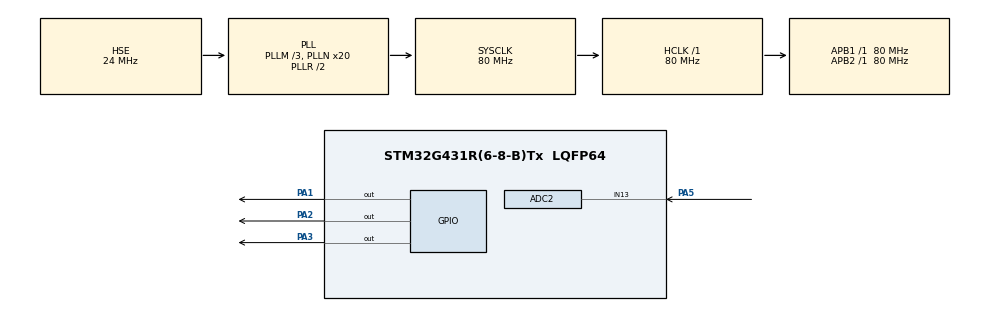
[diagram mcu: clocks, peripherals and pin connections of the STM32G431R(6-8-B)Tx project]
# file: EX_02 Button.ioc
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ADC2.Channel-0\#ChannelRegularConversion=ADC_CHANNEL_13
ADC2.NbrOfConversionFlag=1
ADC2.OffsetNumber-0\#ChannelRegularConversion=ADC_OFFSET_NONE
ADC2.Rank-0\#ChannelRegularConversion=1
ADC2.SamplingTime-0\#ChannelRegularConversion=ADC_SAMPLETIME_247CYCLES_5
Mcu.Family=STM32G4
Mcu.Name=STM32G431R(6-8-B)Tx
Mcu.Package=LQFP64
NVIC.PriorityGroup=NVIC_PRIORITYGROUP_4
PA1.Signal=GPIO_Output
PA2.Signal=GPIO_Output
PA3.Signal=GPIO_Output
PA5.Mode=IN13-Single-Ended
PA5.Signal=ADC2_IN13
PF0-OSC_IN.Mode=HSE-External-Oscillator
PF0-OSC_IN.Signal=RCC_OSC_IN
PF1-OSC_OUT.Mode=HSE-External-Oscillator
PF1-OSC_OUT.Signal=RCC_OSC_OUT
ProjectManager.HeapSize=0x200
ProjectManager.StackSize=0x400
ProjectManager.TargetToolchain=MDK-ARM V5.27
RCC.ADC12Freq_Value=80000000
RCC.AHBFreq_Value=80000000
RCC.APB1Freq_Value=80000000
RCC.APB1TimFreq_Value=80000000
RCC.APB2Freq_Value=80000000
RCC.APB2TimFreq_Value=80000000
RCC.CortexFreq_Value=80000000
RCC.EXTERNAL_CLOCK_VALUE=12288000
RCC.HCLKFreq_Value=80000000
RCC.HSE_VALUE=24000000
RCC.HSI48_VALUE=48000000
RCC.HSI_VALUE=16000000
RCC.LSE_VALUE=32768
RCC.PLLM=RCC_PLLM_DIV3
RCC.PLLN=20
RCC.PLLSourceVirtual=RCC_PLLSOURCE_HSE
RCC.SYSCLKFreq_VALUE=80000000
RCC.SYSCLKSource=RCC_SYSCLKSOURCE_PLLCLK
RCC.USBFreq_Value=80000000
RCC.VCOOutputFreq_Value=160000000
VP_SYS_VS_DBSignals.Mode=DisableDeadBatterySignals
board=custom

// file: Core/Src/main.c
/* USER CODE BEGIN Header */
/**
  ******************************************************************************
  * @file           : main.c
  * @brief          : Main program body
  ******************************************************************************
  * @attention
  *
  * <h2><center>&copy; Copyright (c) 2024 STMicroelectronics.
  * All rights reserved.</center></h2>
  *
  * This software component is licensed by ST under BSD 3-Clause license,
  * the "License"; You may not use this file except in compliance with the
  * License. You may obtain a copy of the License at:
  *                        opensource.org/licenses/BSD-3-Clause
  *
  ******************************************************************************
  */
/* USER CODE END Header */
#include "main.h"
#include "adc.h"
#include "gpio.h"

/* USER CODE BEGIN Includes */
#include "lcd.h"
#include <stdio.h>
#include "seg.h"
#include "button.h"
/* USER CODE END Includes */

void SystemClock_Config(void);
/* USER CODE BEGIN PFP */
uint16_t getADC_R37(void);

/* USER CODE END PFP */

int main(void)
{

  /* MCU Configuration--------------------------------------------------------*/

  /* Reset of all peripherals, Initializes the Flash interface and the Systick. */
  HAL_Init();

  /* Configure the system clock */
  SystemClock_Config();

  /* Initialize all configured peripherals */
  MX_GPIO_Init();
  MX_ADC2_Init();
  /* USER CODE BEGIN 2 */
  LCD_Init();
  LCD_Clear(Black);
  LCD_SetBackColor(Black);
  LCD_SetTextColor(White);

  LCD_DisplayStringLine(Line0, (uint8_t *)"asdfdghmj");
  /* USER CODE END 2 */

  /* Infinite loop */
  /* USER CODE BEGIN WHILE */
  while (1)
  {
	  Seg_Display(Button_Scan(), 10, 10);
    /* USER CODE END WHILE */

  }
}

void SystemClock_Config(void)
{
  RCC_OscInitTypeDef RCC_OscInitStruct = {0};
  RCC_ClkInitTypeDef RCC_ClkInitStruct = {0};
  RCC_PeriphCLKInitTypeDef PeriphClkInit = {0};

  /** Configure the main internal regulator output voltage
  */
  HAL_PWREx_ControlVoltageScaling(PWR_REGULATOR_VOLTAGE_SCALE1);
  /** Initializes the RCC Oscillators according to the specified parameters
  * in the RCC_OscInitTypeDef structure.
  */
  RCC_OscInitStruct.OscillatorType = RCC_OSCILLATORTYPE_HSE;
  RCC_OscInitStruct.HSEState = RCC_HSE_ON;
  RCC_OscInitStruct.PLL.PLLState = RCC_PLL_ON;
  RCC_OscInitStruct.PLL.PLLSource = RCC_PLLSOURCE_HSE;
  RCC_OscInitStruct.PLL.PLLM = RCC_PLLM_DIV3;
  RCC_OscInitStruct.PLL.PLLN = 20;
  RCC_OscInitStruct.PLL.PLLP = RCC_PLLP_DIV2;
  RCC_OscInitStruct.PLL.PLLQ = RCC_PLLQ_DIV2;
  RCC_OscInitStruct.PLL.PLLR = RCC_PLLR_DIV2;
  if (HAL_RCC_OscConfig(&RCC_OscInitStruct) != HAL_OK)
  {
    Error_Handler();
  }
  /** Initializes the CPU, AHB and APB buses clocks
  */
  RCC_ClkInitStruct.ClockType = RCC_CLOCKTYPE_HCLK|RCC_CLOCKTYPE_SYSCLK
                              |RCC_CLOCKTYPE_PCLK1|RCC_CLOCKTYPE_PCLK2;
  RCC_ClkInitStruct.SYSCLKSource = RCC_SYSCLKSOURCE_PLLCLK;
  RCC_ClkInitStruct.AHBCLKDivider = RCC_SYSCLK_DIV1;
  RCC_ClkInitStruct.APB1CLKDivider = RCC_HCLK_DIV1;
  RCC_ClkInitStruct.APB2CLKDivider = RCC_HCLK_DIV1;

  if (HAL_RCC_ClockConfig(&RCC_ClkInitStruct, FLASH_LATENCY_2) != HAL_OK)
  {
    Error_Handler();
  }
  /** Initializes the peripherals clocks
  */
  PeriphClkInit.PeriphClockSelection = RCC_PERIPHCLK_ADC12;
  PeriphClkInit.Adc12ClockSelection = RCC_ADC12CLKSOURCE_SYSCLK;
  if (HAL_RCCEx_PeriphCLKConfig(&PeriphClkInit) != HAL_OK)
  {
    Error_Handler();
  }
}

/* USER CODE BEGIN 4 */
uint16_t getADC_R37()
{
	uint16_t adc;
	HAL_ADC_Start(&hadc2);
	HAL_ADC_PollForConversion(&hadc2, 10);
	adc = HAL_ADC_GetValue(&hadc2);
	HAL_ADC_Stop(&hadc2);
	return adc;
}
/* USER CODE END 4 */

void Error_Handler(void)
{
  __disable_irq();
  while (1)
  {
  }
}

/************************ (C) COPYRIGHT STMicroelectronics *****END OF FILE****/
